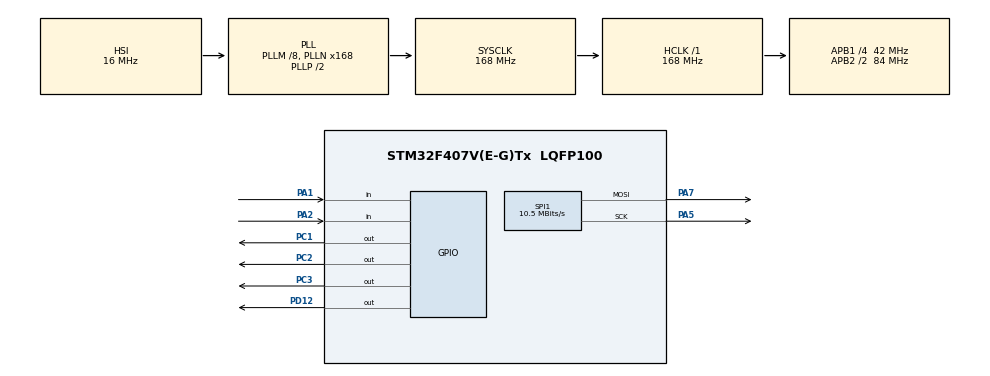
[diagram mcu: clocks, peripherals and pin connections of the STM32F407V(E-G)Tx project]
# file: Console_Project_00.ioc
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Dma.Request0=SPI1_TX
Dma.SPI1_TX.0.Direction=DMA_MEMORY_TO_PERIPH
Dma.SPI1_TX.0.FIFOMode=DMA_FIFOMODE_DISABLE
Dma.SPI1_TX.0.Instance=DMA2_Stream3
Dma.SPI1_TX.0.MemDataAlignment=DMA_MDATAALIGN_BYTE
Dma.SPI1_TX.0.MemInc=DMA_MINC_ENABLE
Dma.SPI1_TX.0.Mode=DMA_NORMAL
Dma.SPI1_TX.0.PeriphDataAlignment=DMA_PDATAALIGN_BYTE
Dma.SPI1_TX.0.PeriphInc=DMA_PINC_DISABLE
Dma.SPI1_TX.0.Priority=DMA_PRIORITY_VERY_HIGH
Mcu.Family=STM32F4
Mcu.Name=STM32F407V(E-G)Tx
Mcu.Package=LQFP100
NVIC.DMA2_Stream3_IRQn=true\:0\:0\:false\:false\:true\:false\:true\:true
NVIC.PriorityGroup=NVIC_PRIORITYGROUP_4
PA1.GPIO_PuPd=GPIO_PULLUP
PA1.Signal=GPIO_Input
PA2.GPIO_PuPd=GPIO_PULLUP
PA2.Signal=GPIO_Input
PA5.Mode=TX_Only_Simplex_Unidirect_Master
PA5.Signal=SPI1_SCK
PA7.Mode=TX_Only_Simplex_Unidirect_Master
PA7.Signal=SPI1_MOSI
PC1.Signal=GPIO_Output
PC2.Signal=GPIO_Output
PC3.Signal=GPIO_Output
PD12.Signal=GPIO_Output
ProjectManager.HeapSize=0x200
ProjectManager.StackSize=0x400
ProjectManager.TargetToolchain=STM32CubeIDE
RCC.48MHZClocksFreq_Value=84000000
RCC.AHBFreq_Value=168000000
RCC.APB1CLKDivider=RCC_HCLK_DIV4
RCC.APB1Freq_Value=42000000
RCC.APB1TimFreq_Value=84000000
RCC.APB2CLKDivider=RCC_HCLK_DIV2
RCC.APB2Freq_Value=84000000
RCC.APB2TimFreq_Value=168000000
RCC.CortexFreq_Value=168000000
RCC.HCLKFreq_Value=168000000
RCC.HSE_VALUE=25000000
RCC.HSI_VALUE=16000000
RCC.LSE_VALUE=32768
RCC.PLLM=8
RCC.PLLN=168
RCC.SYSCLKFreq_VALUE=168000000
RCC.SYSCLKSource=RCC_SYSCLKSOURCE_PLLCLK
RCC.VCOOutputFreq_Value=336000000
SPI1.BaudRatePrescaler=SPI_BAUDRATEPRESCALER_8
SPI1.CLKPolarity=SPI_POLARITY_LOW
SPI1.CalculateBaudRate=10.5 MBits/s
SPI1.Direction=SPI_DIRECTION_2LINES
SPI1.Mode=SPI_MODE_MASTER
SPI1.VirtualType=VM_MASTER
board=STM32F407G-DISC1

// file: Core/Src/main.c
/* USER CODE BEGIN Header */
/**
  ******************************************************************************
  * @file           : main.c
  * @brief          : Main program body
  ******************************************************************************
  * @attention
  *
  * Copyright (c) 2026 STMicroelectronics.
  * All rights reserved.
  *
  * This software is licensed under terms that can be found in the LICENSE file
  * in the root directory of this software component.
  * If no LICENSE file comes with this software, it is provided AS-IS.
  *
  ******************************************************************************
  */
/* USER CODE END Header */
#include "main.h"

/* USER CODE BEGIN Includes */
#include "ili9341.h"
/* USER CODE END Includes */

SPI_HandleTypeDef hspi1;
DMA_HandleTypeDef hdma_spi1_tx;

void SystemClock_Config(void);
static void MX_GPIO_Init(void);
static void MX_DMA_Init(void);
static void MX_SPI1_Init(void);

/* USER CODE BEGIN 0 */
#include <stdlib.h> // For rand()

volatile uint8_t spi_dma_busy = 0;

void HAL_SPI_TxCpltCallback(SPI_HandleTypeDef *hspi) {
    if (hspi->Instance == SPI1) {
        HAL_GPIO_WritePin(GPIOC, GPIO_PIN_1, GPIO_PIN_SET);
        spi_dma_busy = 0;
    }
}

// Game Settings
#define GRID_SIZE 10
#define MAX_SNAKE_LENGTH 100
#define SCREEN_W 240
#define SCREEN_H 320

// Game State
int snake_x[MAX_SNAKE_LENGTH];
int snake_y[MAX_SNAKE_LENGTH];
int snake_len = 3;
int dir = 1; // 0=Up, 1=Right, 2=Down, 3=Left
int food_x = 8, food_y = 8;
uint8_t game_over = 0;

// Sprite Buffers (20x20 pixels = 400 pixels = 800 bytes each)
static uint16_t block_green[400];
static uint16_t block_red[400];
static uint16_t block_black[400];
/* USER CODE END 0 */

int main(void)
{

  /* MCU Configuration--------------------------------------------------------*/

  /* Reset of all peripherals, Initializes the Flash interface and the Systick. */
  HAL_Init();

  /* Configure the system clock */
  SystemClock_Config();

  /* Initialize all configured peripherals */
  MX_GPIO_Init();
  MX_DMA_Init();
  MX_SPI1_Init();
  /* USER CODE BEGIN 2 */
  ILI9341_Init();
  ILI9341_FillScreen(ILI9341_BLACK); // Start with a black screen

  // Pre-fill DMA sprite buffers
  for(int i = 0; i < 400; i++) {
        block_green[i] = (uint16_t)((ILI9341_GREEN >> 8) | ((ILI9341_GREEN & 0xFF) << 8));
        block_red[i]   = (uint16_t)((ILI9341_RED >> 8)   | ((ILI9341_RED & 0xFF) << 8));
        block_black[i] = (uint16_t)((ILI9341_BLACK >> 8) | ((ILI9341_BLACK & 0xFF) << 8));
    }

  // Set initial snake position
  snake_x[0] = 5; snake_y[0] = 5;
  snake_x[1] = 4; snake_y[1] = 5;
  snake_x[2] = 3; snake_y[2] = 5;

  // Draw initial food
  ILI9341_DrawImage_DMA(food_x * GRID_SIZE, food_y * GRID_SIZE, GRID_SIZE, GRID_SIZE, block_red);

  uint32_t last_move_time = HAL_GetTick();
  uint8_t button1_pressed = 0;
  uint8_t button2_pressed = 0;
  /* USER CODE END 2 */

  /* Infinite loop */
  while (1)
  {

    /* USER CODE BEGIN 3 */
    if (game_over) {
        HAL_Delay(100);
        ILI9341_FillScreen(ILI9341_RED);
        continue; // Halt the game if crashed
    }

    // 1. READ INPUT (Relative Steering with Edge Detection)
    if (HAL_GPIO_ReadPin(GPIOA, GPIO_PIN_1) == GPIO_PIN_RESET && !button1_pressed) {
        dir = (dir + 3) % 4; // Turn Left (CCW)
        button1_pressed = 1;
    } else if (HAL_GPIO_ReadPin(GPIOA, GPIO_PIN_1) == GPIO_PIN_SET) {
        button1_pressed = 0;
    }

    if (HAL_GPIO_ReadPin(GPIOA, GPIO_PIN_2) == GPIO_PIN_RESET && !button2_pressed) {
        dir = (dir + 1) % 4; // Turn Right (CW)
        button2_pressed = 1;
    } else if (HAL_GPIO_ReadPin(GPIOA, GPIO_PIN_2) == GPIO_PIN_SET) {
        button2_pressed = 0;
    }

    // 2. PHYSICS & MOVEMENT (Run every 150ms)
    if ((HAL_GetTick() - last_move_time) > 150) {

        // Save tail position before moving so we can erase it
        int old_tail_x = snake_x[snake_len - 1];
        int old_tail_y = snake_y[snake_len - 1];

        // Shift body coordinates down the array
        for (int i = snake_len - 1; i > 0; i--) {
            snake_x[i] = snake_x[i - 1];
            snake_y[i] = snake_y[i - 1];
        }

        // Move head based on direction
        if (dir == 0) snake_y[0]--;      // Up
        else if (dir == 1) snake_x[0]++; // Right
        else if (dir == 2) snake_y[0]++; // Down
        else if (dir == 3) snake_x[0]--; // Left

        // Check Wall Collisions
        if (snake_x[0] < 0 || snake_x[0] >= (SCREEN_W / GRID_SIZE) ||
            snake_y[0] < 0 || snake_y[0] >= (SCREEN_H / GRID_SIZE)) {
            game_over = 1;
        }

        // Check Self Collisions
        for (int i = 1; i < snake_len; i++) {
            if (snake_x[0] == snake_x[i] && snake_y[0] == snake_y[i]) {
                game_over = 1;
            }
        }

        // Check Food Collision
        int ate_food = 0;
        if (snake_x[0] == food_x && snake_y[0] == food_y) {
            if (snake_len < MAX_SNAKE_LENGTH) {
                // Initialize the new tail segment at the exact spot the old tail just vacated
                snake_x[snake_len] = old_tail_x;
                snake_y[snake_len] = old_tail_y;
                snake_len++; // Now it is safe to grow
            }

            // Spawn new food
            food_x = rand() % (SCREEN_W / GRID_SIZE);
            food_y = rand() % (SCREEN_H / GRID_SIZE);
            ILI9341_DrawImage_DMA(food_x * GRID_SIZE, food_y * GRID_SIZE, GRID_SIZE, GRID_SIZE, block_red);
            ate_food = 1;
        }

        // 3. DIRTY RECTANGLE RENDERING
        if (!game_over) {
            // Draw the new head
            ILI9341_DrawImage_DMA(snake_x[0] * GRID_SIZE, snake_y[0] * GRID_SIZE, GRID_SIZE, GRID_SIZE, block_green);

            // Erase the old tail (unless we just grew)
            if (!ate_food) {
                ILI9341_DrawImage_DMA(old_tail_x * GRID_SIZE, old_tail_y * GRID_SIZE, GRID_SIZE, GRID_SIZE, block_black);
            }
        }

        last_move_time = HAL_GetTick(); // Reset movement timer
    }
  /* USER CODE END 3 */
}
}

void SystemClock_Config(void)
{
  RCC_OscInitTypeDef RCC_OscInitStruct = {0};
  RCC_ClkInitTypeDef RCC_ClkInitStruct = {0};

  /** Configure the main internal regulator output voltage
  */
  __HAL_RCC_PWR_CLK_ENABLE();
  __HAL_PWR_VOLTAGESCALING_CONFIG(PWR_REGULATOR_VOLTAGE_SCALE1);

  /** Initializes the RCC Oscillators according to the specified parameters
  * in the RCC_OscInitTypeDef structure.
  */
  RCC_OscInitStruct.OscillatorType = RCC_OSCILLATORTYPE_HSI;
  RCC_OscInitStruct.HSIState = RCC_HSI_ON;
  RCC_OscInitStruct.HSICalibrationValue = RCC_HSICALIBRATION_DEFAULT;
  RCC_OscInitStruct.PLL.PLLState = RCC_PLL_ON;
  RCC_OscInitStruct.PLL.PLLSource = RCC_PLLSOURCE_HSI;
  RCC_OscInitStruct.PLL.PLLM = 8;
  RCC_OscInitStruct.PLL.PLLN = 168;
  RCC_OscInitStruct.PLL.PLLP = RCC_PLLP_DIV2;
  RCC_OscInitStruct.PLL.PLLQ = 4;
  if (HAL_RCC_OscConfig(&RCC_OscInitStruct) != HAL_OK)
  {
    Error_Handler();
  }

  /** Initializes the CPU, AHB and APB buses clocks
  */
  RCC_ClkInitStruct.ClockType = RCC_CLOCKTYPE_HCLK|RCC_CLOCKTYPE_SYSCLK
                              |RCC_CLOCKTYPE_PCLK1|RCC_CLOCKTYPE_PCLK2;
  RCC_ClkInitStruct.SYSCLKSource = RCC_SYSCLKSOURCE_PLLCLK;
  RCC_ClkInitStruct.AHBCLKDivider = RCC_SYSCLK_DIV1;
  RCC_ClkInitStruct.APB1CLKDivider = RCC_HCLK_DIV4;
  RCC_ClkInitStruct.APB2CLKDivider = RCC_HCLK_DIV2;

  if (HAL_RCC_ClockConfig(&RCC_ClkInitStruct, FLASH_LATENCY_5) != HAL_OK)
  {
    Error_Handler();
  }
}

static void MX_SPI1_Init(void)
{

  /* SPI1 parameter configuration*/
  hspi1.Instance = SPI1;
  hspi1.Init.Mode = SPI_MODE_MASTER;
  hspi1.Init.Direction = SPI_DIRECTION_2LINES;
  hspi1.Init.DataSize = SPI_DATASIZE_8BIT;
  hspi1.Init.CLKPolarity = SPI_POLARITY_LOW;
  hspi1.Init.CLKPhase = SPI_PHASE_1EDGE;
  hspi1.Init.NSS = SPI_NSS_SOFT;
  hspi1.Init.BaudRatePrescaler = SPI_BAUDRATEPRESCALER_8;
  hspi1.Init.FirstBit = SPI_FIRSTBIT_MSB;
  hspi1.Init.TIMode = SPI_TIMODE_DISABLE;
  hspi1.Init.CRCCalculation = SPI_CRCCALCULATION_DISABLE;
  hspi1.Init.CRCPolynomial = 10;
  if (HAL_SPI_Init(&hspi1) != HAL_OK)
  {
    Error_Handler();
  }

}

static void MX_DMA_Init(void)
{

  /* DMA controller clock enable */
  __HAL_RCC_DMA2_CLK_ENABLE();

  /* DMA interrupt init */
  /* DMA2_Stream3_IRQn interrupt configuration */
  HAL_NVIC_SetPriority(DMA2_Stream3_IRQn, 0, 0);
  HAL_NVIC_EnableIRQ(DMA2_Stream3_IRQn);

}

static void MX_GPIO_Init(void)
{
  GPIO_InitTypeDef GPIO_InitStruct = {0};

  /* GPIO Ports Clock Enable */
  __HAL_RCC_GPIOC_CLK_ENABLE();
  __HAL_RCC_GPIOA_CLK_ENABLE();
  __HAL_RCC_GPIOD_CLK_ENABLE();

  /*Configure GPIO pin Output Level */
  HAL_GPIO_WritePin(GPIOC, GPIO_PIN_1|GPIO_PIN_2|GPIO_PIN_3, GPIO_PIN_RESET);

  /*Configure GPIO pin Output Level */
  HAL_GPIO_WritePin(GPIOD, GPIO_PIN_12, GPIO_PIN_RESET);

  /*Configure GPIO pins : PC1 PC2 PC3 */
  GPIO_InitStruct.Pin = GPIO_PIN_1|GPIO_PIN_2|GPIO_PIN_3;
  GPIO_InitStruct.Mode = GPIO_MODE_OUTPUT_PP;
  GPIO_InitStruct.Pull = GPIO_NOPULL;
  GPIO_InitStruct.Speed = GPIO_SPEED_FREQ_LOW;
  HAL_GPIO_Init(GPIOC, &GPIO_InitStruct);

  /*Configure GPIO pins : PA1 PA2 */
  GPIO_InitStruct.Pin = GPIO_PIN_1|GPIO_PIN_2;
  GPIO_InitStruct.Mode = GPIO_MODE_INPUT;
  GPIO_InitStruct.Pull = GPIO_PULLUP;
  HAL_GPIO_Init(GPIOA, &GPIO_InitStruct);

  /*Configure GPIO pin : PD12 */
  GPIO_InitStruct.Pin = GPIO_PIN_12;
  GPIO_InitStruct.Mode = GPIO_MODE_OUTPUT_PP;
  GPIO_InitStruct.Pull = GPIO_NOPULL;
  GPIO_InitStruct.Speed = GPIO_SPEED_FREQ_LOW;
  HAL_GPIO_Init(GPIOD, &GPIO_InitStruct);

}

void Error_Handler(void)
{
  __disable_irq();
  while (1)
  {
  }
}
